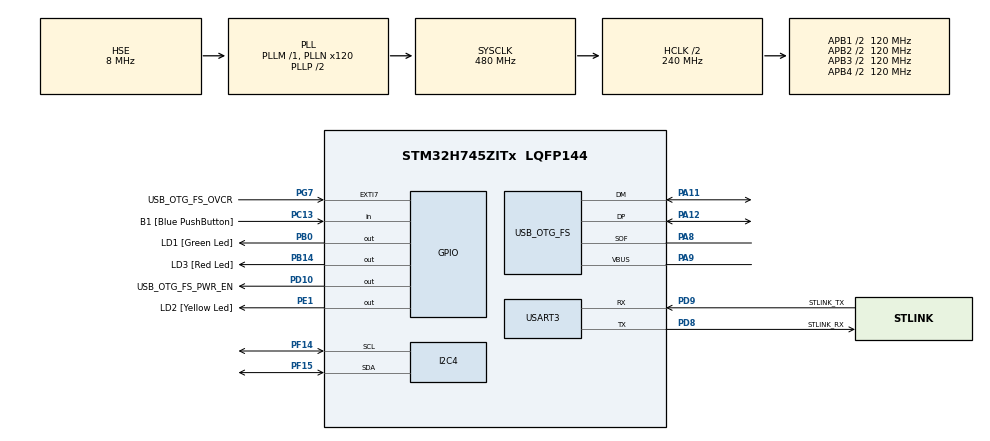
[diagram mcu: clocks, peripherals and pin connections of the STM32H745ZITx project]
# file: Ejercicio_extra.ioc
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CortexM4.IPs=FATFS_M4\:I,FREERTOS_M4\:I,IWDG2\:I,RCC,WWDG2\:I,DMA,BDMA,MDMA,NVIC2\:I,DEBUG,USB_DEVICE_M4\:I,USB_HOST_M4\:I,PDM2PCM_M4\:I,PWR,RESMGR_UTILITY,SYS_M4\:I,CORTEX_M4\:I,OPENAMP_M4\:I,VREFBUF,GPIO
CortexM7.IPs=FATFS_M7\:I,FREERTOS_M7\:I,IWDG1\:I,RCC\:I,WWDG1\:I,DMA\:I,BDMA\:I,MDMA\:I,NVIC1\:I,SYS\:I,USART3\:I,USB_OTG_FS\:I,CORTEX_M7\:I,DEBUG\:I,USB_DEVICE_M7\:I,USB_HOST_M7\:I,PDM2PCM_M7\:I,PWR\:I,RESMGR_UTILITY\:I,OPENAMP_M7\:I,VREFBUF\:I,GPIO\:I,I2C4\:I
CortexM7.Pins=PB0,PB14
I2C4.Timing=0x307075B1
Mcu.Family=STM32H7
Mcu.Name=STM32H745ZITx
Mcu.Package=LQFP144
NVIC1.PriorityGroup=NVIC_PRIORITYGROUP_4
NVIC1.USART3_IRQn=true\:0\:0\:false\:false\:true\:true\:true\:true
NVIC2.PriorityGroup=NVIC_PRIORITYGROUP_4
PA1.PinAttribute=CortexM7
PA1.Signal=ETH_REF_CLK
PA11.Mode=Device_Only
PA11.PinAttribute=CortexM7
PA11.Signal=USB_OTG_FS_DM
PA12.Mode=Device_Only
PA12.PinAttribute=CortexM7
PA12.Signal=USB_OTG_FS_DP
PA2.PinAttribute=CortexM7
PA2.Signal=ETH_MDIO
PA7.PinAttribute=CortexM7
PA7.Signal=ETH_CRS_DV
PA8.Mode=Activate_SOF_FS
PA8.PinAttribute=CortexM7
PA8.Signal=USB_OTG_FS_SOF
PA9.Mode=Activate_VBUS
PA9.PinAttribute=CortexM7
PA9.Signal=USB_OTG_FS_VBUS
PB0.GPIO_Label=LD1 [Green Led]
PB0.GPIO_PuPd=GPIO_PULLDOWN
PB0.GPIO_Speed=GPIO_SPEED_FREQ_HIGH
PB0.PinAttribute=CortexM7
PB0.Signal=GPIO_Output
PB13.PinAttribute=CortexM7
PB13.Signal=ETH_TXD1
PB14.GPIO_Label=LD3 [Red Led]
PB14.GPIO_PuPd=GPIO_PULLDOWN
PB14.GPIO_Speed=GPIO_SPEED_FREQ_HIGH
PB14.PinAttribute=CortexM7
PB14.Signal=GPIO_Output
PC1.PinAttribute=CortexM7
PC1.Signal=ETH_MDC
PC13.GPIO_Label=B1 [Blue PushButton]
PC13.PinAttribute=Free
PC13.Signal=GPIO_Input
PC14-OSC32_IN\ (OSC32_IN).Mode=LSE-External-Oscillator
PC14-OSC32_IN\ (OSC32_IN).PinAttribute=CortexM7
PC14-OSC32_IN\ (OSC32_IN).Signal=RCC_OSC32_IN
PC15-OSC32_OUT\ (OSC32_OUT).Mode=LSE-External-Oscillator
PC15-OSC32_OUT\ (OSC32_OUT).PinAttribute=CortexM7
PC15-OSC32_OUT\ (OSC32_OUT).Signal=RCC_OSC32_OUT
PC4.PinAttribute=CortexM7
PC4.Signal=ETH_RXD0
PC5.PinAttribute=CortexM7
PC5.Signal=ETH_RXD1
PD10.GPIO_Label=USB_OTG_FS_PWR_EN
PD10.PinAttribute=Free
PD10.Signal=GPIO_Output
PD8.GPIO_Label=STLINK_RX
PD8.Mode=Asynchronous
PD8.PinAttribute=CortexM7
PD8.Signal=USART3_TX
PD9.GPIO_Label=STLINK_TX
PD9.Mode=Asynchronous
PD9.PinAttribute=CortexM7
PD9.Signal=USART3_RX
PE1.GPIO_Label=LD2 [Yellow Led]
PE1.PinAttribute=Free
PE1.Signal=GPIO_Output
PF14.Mode=I2C
PF14.PinAttribute=CortexM7
PF14.Signal=I2C4_SCL
PF15.Mode=I2C
PF15.PinAttribute=CortexM7
PF15.Signal=I2C4_SDA
PG11.PinAttribute=CortexM7
PG11.Signal=ETH_TX_EN
PG13.PinAttribute=CortexM7
PG13.Signal=ETH_TXD0
PG7.GPIO_Label=USB_OTG_FS_OVCR
PG7.PinAttribute=Free
PG7.Signal=GPXTI7
PH0-OSC_IN\ (PH0).Mode=HSE-External-Clock-Source
PH0-OSC_IN\ (PH0).PinAttribute=CortexM7
PH0-OSC_IN\ (PH0).Signal=RCC_OSC_IN
PH1-OSC_OUT\ (PH1).PinAttribute=CortexM7
PH1-OSC_OUT\ (PH1).Signal=RCC_OSC_OUT
ProjectManager.HeapSize=M4-0x200,M7-0x200
ProjectManager.StackSize=M4-0x400,M7-0x400
ProjectManager.TargetToolchain=STM32CubeIDE
RCC.ADCFreq_Value=16125000
RCC.APB1Freq_Value=120000000
RCC.APB2Freq_Value=120000000
RCC.APB3Freq_Value=120000000
RCC.APB4Freq_Value=120000000
RCC.CortexFreq_Value=480000000
RCC.D1PPRE=RCC_APB3_DIV2
RCC.D2PPRE1=RCC_APB1_DIV2
RCC.D2PPRE2=RCC_APB2_DIV2
RCC.D3PPRE=RCC_APB4_DIV2
RCC.DIVM1=1
RCC.DIVM3=1
RCC.DIVN1=120
RCC.DIVN3=24
RCC.DIVQ3=4
RCC.HCLKFreq_Value=240000000
RCC.HPRE=RCC_HCLK_DIV2
RCC.HSE_VALUE=8000000
RCC.PLL2FRACN=0
RCC.PLL3FRACN=0
RCC.PLLFRACN=0
RCC.SYSCLKFreq_VALUE=480000000
RCC.SYSCLKSource=RCC_SYSCLKSOURCE_PLLCLK
RCC.SupplySource=PWR_DIRECT_SMPS_SUPPLY
RCC.USBCLockSelection=RCC_USBCLKSOURCE_PLL3
RCC.USBFreq_Value=48000000
USART3.VirtualMode-Asynchronous=VM_ASYNC
USB_OTG_FS.VirtualMode=Device_Only
VP_SYS_M4_VS_Systick.Mode=SysTick
board=NUCLEO-H745ZI-Q

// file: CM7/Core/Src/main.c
/* USER CODE BEGIN Header */
/**
  ******************************************************************************
  * @file           : main.c
  * @brief          : Main program body
  ******************************************************************************
  * @attention
  *
  * Copyright (c) 2022 STMicroelectronics.
  * All rights reserved.
  *
  * This software is licensed under terms that can be found in the LICENSE file
  * in the root directory of this software component.
  * If no LICENSE file comes with this software, it is provided AS-IS.
  *
  ******************************************************************************
  */
/* USER CODE END Header */
#include "main.h"

/* USER CODE BEGIN Includes */
#include <stdio.h>
#include <string.h>
/* USER CODE END Includes */

/* USER CODE BEGIN PTD */
#define MPU6050_ADDR 0xD0
#define WHO_AM_I 0x75
#define SMPLRT_DIV 0x19
#define GYRO_CONFIG 0x1B
#define ACCEL_CONFIG 0x1C
#define ACCEL_XOUT_H 0x3B
#define TEMP_OUT_H 0x41
#define GYRO_XOUT_H 0x43
#define PWR_MGMT_1 0x6B
/* USER CODE END PTD */

/* USER CODE BEGIN PD */

#ifndef HSEM_ID_0
#define HSEM_ID_0 (0U) /* HW semaphore 0*/
#endif
/* USER CODE END PD */

I2C_HandleTypeDef hi2c4;

UART_HandleTypeDef huart3;

PCD_HandleTypeDef hpcd_USB_OTG_FS;

/* USER CODE BEGIN PV */
uint8_t check, data;

int16_t acc_X_read = 0;
int16_t acc_Y_read = 0;
int16_t acc_Z_read = 0;
int16_t gyr_X_read = 0;
int16_t gyr_Y_read = 0;
int16_t gyr_Z_read = 0;
int16_t temp_read = 0;

float temp;
float acc_X, acc_Y, acc_Z, gyr_X, gyr_Y, gyr_Z;

HAL_StatusTypeDef status;

char uart_buf[50];
uint16_t uart_buf_len;

uint8_t Rx_data[1];
/* USER CODE END PV */

void SystemClock_Config(void);
static void MX_GPIO_Init(void);
static void MX_USART3_UART_Init(void);
static void MX_USB_OTG_FS_PCD_Init(void);
static void MX_I2C4_Init(void);
/* USER CODE BEGIN PFP */
static void MPU6050_init(void);
static void MPU6050_read_acc(void);
static void MPU6050_read_gyro(void);
void HAL_UART_RxCpltCallback(UART_HandleTypeDef *huart);
/* USER CODE END PFP */

int main(void)
{
/* USER CODE BEGIN Boot_Mode_Sequence_0 */
  int32_t timeout;
/* USER CODE END Boot_Mode_Sequence_0 */

/* USER CODE BEGIN Boot_Mode_Sequence_1 */
  /* Wait until CPU2 boots and enters in stop mode or timeout*/
  timeout = 0xFFFF;
  while((__HAL_RCC_GET_FLAG(RCC_FLAG_D2CKRDY) != RESET) && (timeout-- > 0));
  if ( timeout < 0 )
  {
  Error_Handler();
  }
/* USER CODE END Boot_Mode_Sequence_1 */
  /* MCU Configuration--------------------------------------------------------*/

  /* Reset of all peripherals, Initializes the Flash interface and the Systick. */
  HAL_Init();

  /* USER CODE BEGIN Init */
  //HAL_I2C_Init(&hi2c4);
  /* USER CODE END Init */

  /* Configure the system clock */
  SystemClock_Config();
/* USER CODE BEGIN Boot_Mode_Sequence_2 */
/* When system initialization is finished, Cortex-M7 will release Cortex-M4 by means of
HSEM notification */
/*HW semaphore Clock enable*/
__HAL_RCC_HSEM_CLK_ENABLE();
/*Take HSEM */
HAL_HSEM_FastTake(HSEM_ID_0);
/*Release HSEM in order to notify the CPU2(CM4)*/
HAL_HSEM_Release(HSEM_ID_0,0);
/* wait until CPU2 wakes up from stop mode */
timeout = 0xFFFF;
while((__HAL_RCC_GET_FLAG(RCC_FLAG_D2CKRDY) == RESET) && (timeout-- > 0));
if ( timeout < 0 )
{
Error_Handler();
}
/* USER CODE END Boot_Mode_Sequence_2 */

  /* Initialize all configured peripherals */
  MX_GPIO_Init();
  MX_USART3_UART_Init();
  MX_USB_OTG_FS_PCD_Init();
  MX_I2C4_Init();
  /* USER CODE BEGIN 2 */
  HAL_UART_Receive_IT(&huart3, Rx_data, 4);

  // Revisión de conexión del dispositivo
  status = HAL_I2C_IsDeviceReady(&hi2c4, MPU6050_ADDR, 1, 3000);
  if (status == HAL_OK) HAL_GPIO_WritePin(GPIOB, GPIO_PIN_0, SET);
  else HAL_GPIO_WritePin(GPIOB, GPIO_PIN_14, SET);
  HAL_Delay(500);

  // Inicialización del MPU6050
  MPU6050_init();

  // Prueba de comunicación UART
  uart_buf_len = sprintf(uart_buf, "MPU6050 test\r\n");
  HAL_UART_Transmit(&huart3, &uart_buf, uart_buf_len, 100);

  /* USER CODE END 2 */

  /* Infinite loop */
  while (1)
  {

  }
}

void SystemClock_Config(void)
{
  RCC_OscInitTypeDef RCC_OscInitStruct = {0};
  RCC_ClkInitTypeDef RCC_ClkInitStruct = {0};

  /** Supply configuration update enable
  */
  HAL_PWREx_ConfigSupply(PWR_DIRECT_SMPS_SUPPLY);

  /** Configure the main internal regulator output voltage
  */
  __HAL_PWR_VOLTAGESCALING_CONFIG(PWR_REGULATOR_VOLTAGE_SCALE0);

  while(!__HAL_PWR_GET_FLAG(PWR_FLAG_VOSRDY)) {}

  /** Macro to configure the PLL clock source
  */
  __HAL_RCC_PLL_PLLSOURCE_CONFIG(RCC_PLLSOURCE_HSE);

  /** Initializes the RCC Oscillators according to the specified parameters
  * in the RCC_OscInitTypeDef structure.
  */
  RCC_OscInitStruct.OscillatorType = RCC_OSCILLATORTYPE_HSE;
  RCC_OscInitStruct.HSEState = RCC_HSE_BYPASS;
  RCC_OscInitStruct.PLL.PLLState = RCC_PLL_ON;
  RCC_OscInitStruct.PLL.PLLSource = RCC_PLLSOURCE_HSE;
  RCC_OscInitStruct.PLL.PLLM = 1;
  RCC_OscInitStruct.PLL.PLLN = 120;
  RCC_OscInitStruct.PLL.PLLP = 2;
  RCC_OscInitStruct.PLL.PLLQ = 2;
  RCC_OscInitStruct.PLL.PLLR = 2;
  RCC_OscInitStruct.PLL.PLLRGE = RCC_PLL1VCIRANGE_3;
  RCC_OscInitStruct.PLL.PLLVCOSEL = RCC_PLL1VCOWIDE;
  RCC_OscInitStruct.PLL.PLLFRACN = 0;
  if (HAL_RCC_OscConfig(&RCC_OscInitStruct) != HAL_OK)
  {
    Error_Handler();
  }

  /** Initializes the CPU, AHB and APB buses clocks
  */
  RCC_ClkInitStruct.ClockType = RCC_CLOCKTYPE_HCLK|RCC_CLOCKTYPE_SYSCLK
                              |RCC_CLOCKTYPE_PCLK1|RCC_CLOCKTYPE_PCLK2
                              |RCC_CLOCKTYPE_D3PCLK1|RCC_CLOCKTYPE_D1PCLK1;
  RCC_ClkInitStruct.SYSCLKSource = RCC_SYSCLKSOURCE_PLLCLK;
  RCC_ClkInitStruct.SYSCLKDivider = RCC_SYSCLK_DIV1;
  RCC_ClkInitStruct.AHBCLKDivider = RCC_HCLK_DIV2;
  RCC_ClkInitStruct.APB3CLKDivider = RCC_APB3_DIV2;
  RCC_ClkInitStruct.APB1CLKDivider = RCC_APB1_DIV2;
  RCC_ClkInitStruct.APB2CLKDivider = RCC_APB2_DIV2;
  RCC_ClkInitStruct.APB4CLKDivider = RCC_APB4_DIV2;

  if (HAL_RCC_ClockConfig(&RCC_ClkInitStruct, FLASH_LATENCY_4) != HAL_OK)
  {
    Error_Handler();
  }
}

static void MX_I2C4_Init(void)
{

  hi2c4.Instance = I2C4;
  hi2c4.Init.Timing = 0x307075B1;
  hi2c4.Init.OwnAddress1 = 0;
  hi2c4.Init.AddressingMode = I2C_ADDRESSINGMODE_7BIT;
  hi2c4.Init.DualAddressMode = I2C_DUALADDRESS_DISABLE;
  hi2c4.Init.OwnAddress2 = 0;
  hi2c4.Init.OwnAddress2Masks = I2C_OA2_NOMASK;
  hi2c4.Init.GeneralCallMode = I2C_GENERALCALL_DISABLE;
  hi2c4.Init.NoStretchMode = I2C_NOSTRETCH_DISABLE;
  if (HAL_I2C_Init(&hi2c4) != HAL_OK)
  {
    Error_Handler();
  }

  /** Configure Analogue filter
  */
  if (HAL_I2CEx_ConfigAnalogFilter(&hi2c4, I2C_ANALOGFILTER_ENABLE) != HAL_OK)
  {
    Error_Handler();
  }

  /** Configure Digital filter
  */
  if (HAL_I2CEx_ConfigDigitalFilter(&hi2c4, 0) != HAL_OK)
  {
    Error_Handler();
  }

}

static void MX_USART3_UART_Init(void)
{

  huart3.Instance = USART3;
  huart3.Init.BaudRate = 115200;
  huart3.Init.WordLength = UART_WORDLENGTH_8B;
  huart3.Init.StopBits = UART_STOPBITS_1;
  huart3.Init.Parity = UART_PARITY_NONE;
  huart3.Init.Mode = UART_MODE_TX_RX;
  huart3.Init.HwFlowCtl = UART_HWCONTROL_NONE;
  huart3.Init.OverSampling = UART_OVERSAMPLING_16;
  huart3.Init.OneBitSampling = UART_ONE_BIT_SAMPLE_DISABLE;
  huart3.Init.ClockPrescaler = UART_PRESCALER_DIV1;
  huart3.AdvancedInit.AdvFeatureInit = UART_ADVFEATURE_NO_INIT;
  if (HAL_UART_Init(&huart3) != HAL_OK)
  {
    Error_Handler();
  }
  if (HAL_UARTEx_SetTxFifoThreshold(&huart3, UART_TXFIFO_THRESHOLD_1_8) != HAL_OK)
  {
    Error_Handler();
  }
  if (HAL_UARTEx_SetRxFifoThreshold(&huart3, UART_RXFIFO_THRESHOLD_1_8) != HAL_OK)
  {
    Error_Handler();
  }
  if (HAL_UARTEx_DisableFifoMode(&huart3) != HAL_OK)
  {
    Error_Handler();
  }

}

static void MX_USB_OTG_FS_PCD_Init(void)
{

  hpcd_USB_OTG_FS.Instance = USB_OTG_FS;
  hpcd_USB_OTG_FS.Init.dev_endpoints = 9;
  hpcd_USB_OTG_FS.Init.speed = PCD_SPEED_FULL;
  hpcd_USB_OTG_FS.Init.dma_enable = DISABLE;
  hpcd_USB_OTG_FS.Init.phy_itface = PCD_PHY_EMBEDDED;
  hpcd_USB_OTG_FS.Init.Sof_enable = DISABLE;
  hpcd_USB_OTG_FS.Init.low_power_enable = DISABLE;
  hpcd_USB_OTG_FS.Init.lpm_enable = DISABLE;
  hpcd_USB_OTG_FS.Init.battery_charging_enable = ENABLE;
  hpcd_USB_OTG_FS.Init.vbus_sensing_enable = ENABLE;
  hpcd_USB_OTG_FS.Init.use_dedicated_ep1 = DISABLE;
  if (HAL_PCD_Init(&hpcd_USB_OTG_FS) != HAL_OK)
  {
    Error_Handler();
  }

}

static void MX_GPIO_Init(void)
{
  GPIO_InitTypeDef GPIO_InitStruct = {0};

  /* GPIO Ports Clock Enable */
  __HAL_RCC_GPIOC_CLK_ENABLE();
  __HAL_RCC_GPIOH_CLK_ENABLE();
  __HAL_RCC_GPIOB_CLK_ENABLE();
  __HAL_RCC_GPIOF_CLK_ENABLE();
  __HAL_RCC_GPIOD_CLK_ENABLE();
  __HAL_RCC_GPIOA_CLK_ENABLE();

  /*Configure GPIO pin Output Level */
  HAL_GPIO_WritePin(GPIOB, LD1_Pin|LD3_Pin, GPIO_PIN_RESET);

  /*Configure GPIO pins : LD1_Pin LD3_Pin */
  GPIO_InitStruct.Pin = LD1_Pin|LD3_Pin;
  GPIO_InitStruct.Mode = GPIO_MODE_OUTPUT_PP;
  GPIO_InitStruct.Pull = GPIO_PULLDOWN;
  GPIO_InitStruct.Speed = GPIO_SPEED_FREQ_HIGH;
  HAL_GPIO_Init(GPIOB, &GPIO_InitStruct);

}

/* USER CODE BEGIN 4 */
void MPU6050_init(){
	HAL_I2C_Mem_Read(&hi2c4, MPU6050_ADDR, WHO_AM_I, 1, &check, 1, 3000);
	uart_buf_len = sprintf(uart_buf, "Dirección: %u \r\n", check);
	HAL_UART_Transmit(&huart3, &uart_buf, uart_buf_len, 100);
	HAL_Delay(1000);

	data = 0x00;
	HAL_I2C_Mem_Write(&hi2c4, MPU6050_ADDR, PWR_MGMT_1, 1, &data, 1, 3000);
	data = 0b10000111;
	HAL_I2C_Mem_Write(&hi2c4, MPU6050_ADDR, SMPLRT_DIV, 1, &data, 1, 3000);
	data = 0x00;
	HAL_I2C_Mem_Write(&hi2c4, MPU6050_ADDR, GYRO_CONFIG, 1, &data, 1, 3000);
	data = 0x00;
	HAL_I2C_Mem_Write(&hi2c4, MPU6050_ADDR, ACCEL_CONFIG, 1, &data, 1, 3000);

}

void MPU6050_read_acc(void){
	uint8_t read_acc[6];

	HAL_I2C_Mem_Read(&hi2c4, MPU6050_ADDR, ACCEL_XOUT_H, 1, read_acc, 6, 3000);

	acc_X_read = (int16_t)(read_acc[0] << 8 | read_acc[1]);
	acc_Y_read = (int16_t)(read_acc[2] << 8 | read_acc[3]);
	acc_Z_read = (int16_t)(read_acc[4] << 8 | read_acc[5]);

	acc_X = (acc_X_read/16384.0) * 9.81;
	acc_Y = (acc_Y_read/16384.0) * 9.81;
	acc_Z = (acc_Z_read/16384.0) * 9.81;

}

void MPU6050_read_gyro(void){
	uint8_t read_gyro[6];

	HAL_I2C_Mem_Read(&hi2c4, MPU6050_ADDR, GYRO_XOUT_H, 1, read_gyro, 6, 3000);

	gyr_X_read = (int16_t)(read_gyro[0] << 8 | read_gyro[1]);
	gyr_Y_read = (int16_t)(read_gyro[2] << 8 | read_gyro[3]);
	gyr_Z_read = (int16_t)(read_gyro[4] << 8 | read_gyro[5]);

	gyr_X = gyr_X_read/131.0;
	gyr_Y = gyr_Y_read/131.0;
	gyr_Z = gyr_Z_read/131.0;
}

void MPU6050_read_temp(void){
	uint8_t read_temp[2];

	HAL_I2C_Mem_Read(&hi2c4, MPU6050_ADDR, TEMP_OUT_H, 1, read_temp, 2, 3000);

	temp_read = (int16_t)(read_temp[0] << 8 | read_temp[1]);

	temp = (temp_read/340.0) + 36.53;
}

void HAL_UART_RxCpltCallback(UART_HandleTypeDef *huart){
	HAL_GPIO_TogglePin(GPIOB, GPIO_PIN_0);
	if(huart == &huart3){
		if(Rx_data[0] == 'a' | Rx_data[0] == 'A'){
			MPU6050_read_acc();
			uart_buf_len = sprintf(uart_buf, "AccX = %.2f m/s^2 \r\n", acc_X);
			HAL_UART_Transmit(&huart3, &uart_buf, uart_buf_len, 100);
			uart_buf_len = sprintf(uart_buf, "AccY = %.2f m/s^2 \r\n", acc_Y);
			HAL_UART_Transmit(&huart3, &uart_buf, uart_buf_len, 100);
			uart_buf_len = sprintf(uart_buf, "AccZ = %.2f m/s^2 \r\n", acc_Z);
			HAL_UART_Transmit(&huart3, &uart_buf, uart_buf_len, 100);
		} else if(Rx_data[0] == 'g' | Rx_data[0] == 'G'){
			MPU6050_read_gyro();
			uart_buf_len = sprintf(uart_buf, "GyrX = %.2f °/s \r\n", gyr_X);
			HAL_UART_Transmit(&huart3, &uart_buf, uart_buf_len, 100);
			uart_buf_len = sprintf(uart_buf, "GyrY = %.2f °/s \r\n", gyr_Y);
			HAL_UART_Transmit(&huart3, &uart_buf, uart_buf_len, 100);
			uart_buf_len = sprintf(uart_buf, "GyrZ = %.2f °/s \r\n\n", gyr_Z);
			HAL_UART_Transmit(&huart3, &uart_buf, uart_buf_len, 100);
		} else if(Rx_data[0] == 't' | Rx_data[0] == 'T'){
			MPU6050_read_temp();
			uart_buf_len = sprintf(uart_buf, "Temp: %.2f \r\n", temp);
			HAL_UART_Transmit(&huart3, &uart_buf, uart_buf_len, 100);
		} else{
			uart_buf_len = sprintf(uart_buf, "NA\r\n");
			HAL_UART_Transmit(&huart3, &uart_buf, uart_buf_len, 100);
		}
	}

	HAL_UART_Receive_IT(&huart3, Rx_data, 4); //Reinicia la interrupcion

}

/* USER CODE END 4 */

void Error_Handler(void)
{
  __disable_irq();
  while (1)
  {
  }
}
